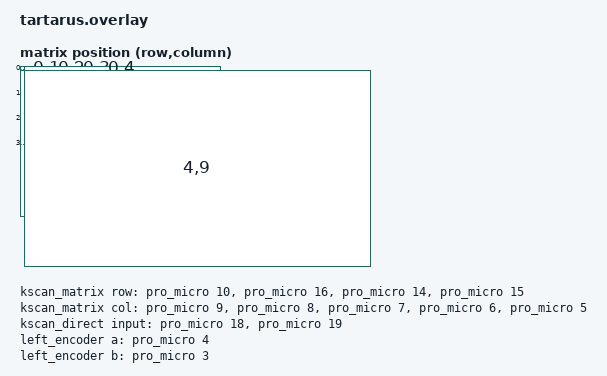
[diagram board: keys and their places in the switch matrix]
/*
 * Copyright (c) 2026 Chris Dietz
 * GPL-2.0-or-later
 */

#include <dt-bindings/zmk/matrix_transform.h>

/ {
    // Define the key attributes node with 7 cells (required by ZMK Studio)
    key_physical_attrs: key_physical_attrs {
        compatible = "zmk,key-physical-attrs";
        #key-cells = <7>;
    };

    default_transform: keymap_transform_0 {
        compatible = "zmk,matrix-transform";
        columns = <10>; 
        rows = <5>;
        // RC Macro is standard in ZMK, no custom define needed
        map = <
        RC(0,0) RC(0,1) RC(0,2) RC(0,3) RC(0,4)
        RC(1,0) RC(1,1) RC(1,2) RC(1,3) RC(1,4)
        RC(2,0) RC(2,1) RC(2,2) RC(2,3) RC(2,4)
        RC(3,0) RC(3,1) RC(3,2) RC(3,3) RC(3,4) RC(3,5) RC(3,8) 
        RC(4,5) RC(4,7) RC(4,8) RC(4,9) 
        >;
    };

    kscan0: kscan {
        compatible = "zmk,kscan-composite";
        label = "KSCAN";
        rows = <5>;
        columns = <10>;

        matrix {
            kscan = <&kscan_matrix>;
        };

        direct {
            kscan = <&kscan_direct>;
            row-offset = <3>;
            col-offset = <5>;
        };
    };

    kscan_matrix: kscan_matrix {
        compatible = "zmk,kscan-gpio-matrix";
        diode-direction = "col2row";
        
        row-gpios
            = <&pro_micro 10 (GPIO_ACTIVE_HIGH | GPIO_PULL_DOWN)>
            , <&pro_micro 16 (GPIO_ACTIVE_HIGH | GPIO_PULL_DOWN)>
            , <&pro_micro 14 (GPIO_ACTIVE_HIGH | GPIO_PULL_DOWN)>
            , <&pro_micro 15 (GPIO_ACTIVE_HIGH | GPIO_PULL_DOWN)>
            ;
            
        col-gpios
            = <&pro_micro 9 GPIO_ACTIVE_HIGH>
            , <&pro_micro 8 GPIO_ACTIVE_HIGH>
            , <&pro_micro 7 GPIO_ACTIVE_HIGH>
            , <&pro_micro 6 GPIO_ACTIVE_HIGH>
            , <&pro_micro 5 GPIO_ACTIVE_HIGH>
            ;
    };

    kscan_direct: kscan_direct {
        compatible = "zmk,kscan-gpio-direct";
        input-gpios
            = <&pro_micro 18 (GPIO_ACTIVE_LOW | GPIO_PULL_UP)>
            , <&pro_micro 19 (GPIO_ACTIVE_LOW | GPIO_PULL_UP)>
            ;
    };

    left_encoder: encoder_left {
        compatible = "alps,ec11";
        a-gpios = <&pro_micro 4 (GPIO_ACTIVE_HIGH | GPIO_PULL_UP)>;
        b-gpios = <&pro_micro 3 (GPIO_ACTIVE_HIGH | GPIO_PULL_UP)>;
        steps = <80>;
        status = "okay";
    };

    sensors: sensors {
        compatible = "zmk,keymap-sensors";
        sensors = <&left_encoder>;
        triggers-per-rotation = <20>;
    };

    physical_layout0: physical_layout_0 {
        compatible = "zmk,physical-layout";
        display-name = "Tartarus Layout";
        transform = <&default_transform>;
        kscan = <&kscan0>;
        status = "okay"; // FIX: Ensure the node is enabled!
        
        // 7-cell definition: X, Y, W, H, Rx, Ry, Rz
        keys  
            = <&key_physical_attrs 0 0 100 100 0 0 0>   , <&key_physical_attrs 100 0 100 100 0 0 0> , <&key_physical_attrs 200 0 100 100 0 0 0> , <&key_physical_attrs 300 0 100 100 0 0 0> , <&key_physical_attrs 400 0 100 100 0 0 0>
            , <&key_physical_attrs 0 100 100 100 0 0 0> , <&key_physical_attrs 100 100 100 100 0 0 0>, <&key_physical_attrs 200 100 100 100 0 0 0>, <&key_physical_attrs 300 100 100 100 0 0 0>, <&key_physical_attrs 400 100 100 100 0 0 0>
            , <&key_physical_attrs 0 200 100 100 0 0 0> , <&key_physical_attrs 100 200 100 100 0 0 0>, <&key_physical_attrs 200 200 100 100 0 0 0>, <&key_physical_attrs 300 200 100 100 0 0 0>, <&key_physical_attrs 400 200 100 100 0 0 0>
            , <&key_physical_attrs 0 300 100 100 0 0 0> , <&key_physical_attrs 100 300 100 100 0 0 0>, <&key_physical_attrs 200 300 100 100 0 0 0>, <&key_physical_attrs 300 300 100 100 0 0 0>, <&key_physical_attrs 400 300 100 100 0 0 0>, <&key_physical_attrs 500 300 100 100 0 0 0>, <&key_physical_attrs 600 300 100 100 0 0 0>
            , <&key_physical_attrs 400 400 100 100 0 0 0>, <&key_physical_attrs 500 400 100 100 0 0 0>, <&key_physical_attrs 600 400 100 100 0 0 0>, <&key_physical_attrs 700 400 100 100 0 0 0>
            ;
    };
    
    // Chosen block moved to end
    chosen {
        zmk,kscan = &kscan0;
        zmk,matrix_transform = &default_transform;
        zmk,physical-layout = &physical_layout0;
        zmk,studio-rpc = &cdc_acm_uart;
    };
};

&adc {
    status = "okay";
};

&zephyr_udc0 {
    cdc_acm_uart: cdc_acm_uart {
        compatible = "zephyr,cdc-acm-uart";
    };
};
